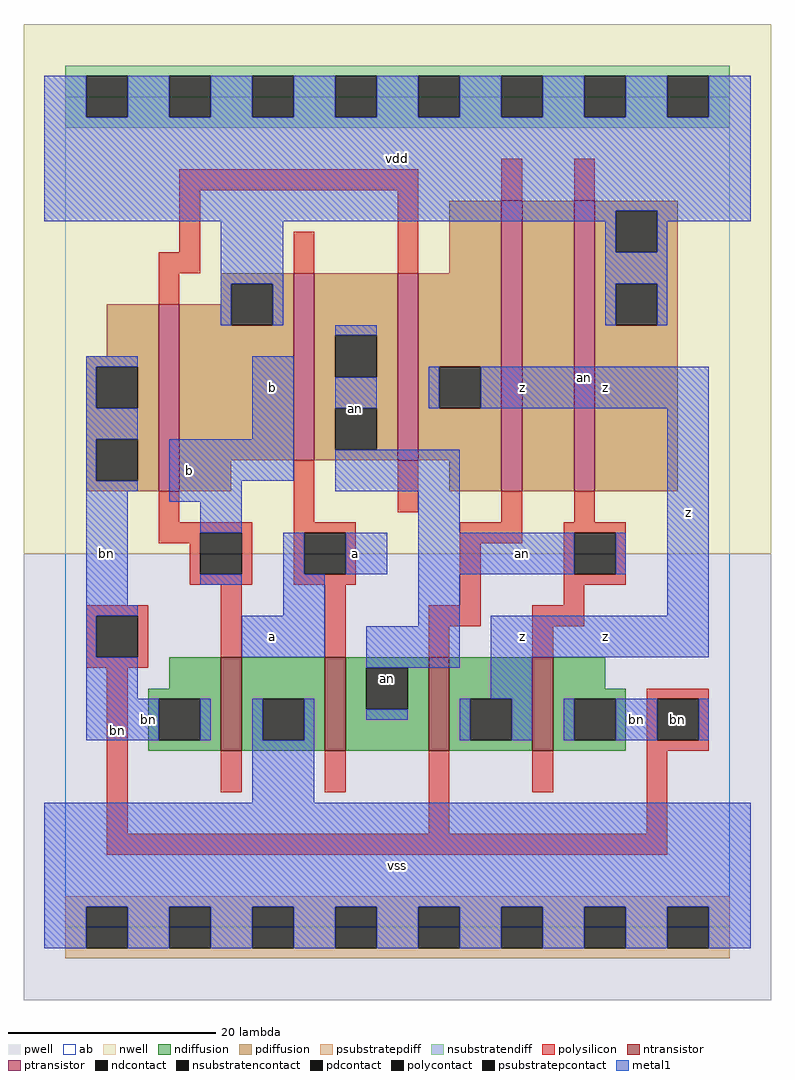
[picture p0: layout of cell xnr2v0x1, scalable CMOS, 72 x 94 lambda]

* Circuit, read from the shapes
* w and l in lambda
.subckt xnr2v0x1 a an b bn vdd vss z
M1 vss b bn vss nfet w=9 l=2
M2 an a vss vss nfet w=9 l=2
M3 z bn an vss nfet w=9 l=2
M4 bn an z vss nfet w=9 l=2
M5 vdd b bn vdd pfet w=18 l=2
M6 an a vdd vdd pfet w=18 l=2
M7 z b an vdd pfet w=18 l=2
M8 n1 bn z vdd pfet w=28 l=2
M9 vdd an n1 vdd pfet w=28 l=2
.ends

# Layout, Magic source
magic
tech scmos
<< ab >>
rect 0 0 64 80
<< pwell >>
rect -4 -7 68 36
<< nwell >>
rect -4 36 68 87
<< polysilicon >>
rect 11 71 34 73
rect 11 65 13 71
rect 9 63 13 65
rect 22 63 24 67
rect 32 63 34 71
rect 42 70 44 74
rect 49 70 51 74
rect 9 60 11 63
rect 9 39 11 42
rect 22 39 24 45
rect 32 40 34 45
rect 42 39 44 42
rect 49 39 51 42
rect 9 38 18 39
rect 9 37 13 38
rect 12 34 13 37
rect 17 34 18 38
rect 12 33 18 34
rect 22 38 28 39
rect 22 34 23 38
rect 27 34 28 38
rect 22 33 28 34
rect 38 37 44 39
rect 48 38 54 39
rect 2 30 8 31
rect 2 26 3 30
rect 7 26 8 30
rect 15 26 17 33
rect 25 26 27 33
rect 38 31 40 37
rect 48 34 49 38
rect 53 34 54 38
rect 48 33 54 34
rect 48 31 50 33
rect 35 29 40 31
rect 45 29 50 31
rect 35 26 37 29
rect 45 26 47 29
rect 2 25 8 26
rect 4 9 6 25
rect 56 22 62 23
rect 56 18 57 22
rect 61 18 62 22
rect 56 17 62 18
rect 15 13 17 17
rect 25 13 27 17
rect 35 9 37 17
rect 45 13 47 17
rect 56 9 58 17
rect 4 7 58 9
<< ndiffusion >>
rect 10 23 15 26
rect 8 22 15 23
rect 8 18 9 22
rect 13 18 15 22
rect 8 17 15 18
rect 17 22 25 26
rect 17 18 19 22
rect 23 18 25 22
rect 17 17 25 18
rect 27 25 35 26
rect 27 21 29 25
rect 33 21 35 25
rect 27 17 35 21
rect 37 22 45 26
rect 37 18 39 22
rect 43 18 45 22
rect 37 17 45 18
rect 47 23 52 26
rect 47 22 54 23
rect 47 18 49 22
rect 53 18 54 22
rect 47 17 54 18
<< pdiffusion >>
rect 37 63 42 70
rect 15 62 22 63
rect 15 60 16 62
rect 4 55 9 60
rect 2 54 9 55
rect 2 50 3 54
rect 7 50 9 54
rect 2 47 9 50
rect 2 43 3 47
rect 7 43 9 47
rect 2 42 9 43
rect 11 58 16 60
rect 20 58 22 62
rect 11 45 22 58
rect 24 57 32 63
rect 24 53 26 57
rect 30 53 32 57
rect 24 50 32 53
rect 24 46 26 50
rect 30 46 32 50
rect 24 45 32 46
rect 34 54 42 63
rect 34 50 36 54
rect 40 50 42 54
rect 34 45 42 50
rect 11 42 16 45
rect 37 42 42 45
rect 44 42 49 70
rect 51 69 59 70
rect 51 65 53 69
rect 57 65 59 69
rect 51 62 59 65
rect 51 58 53 62
rect 57 58 59 62
rect 51 42 59 58
<< metal1 >>
rect -2 78 2 82
rect 6 78 10 82
rect 14 78 18 82
rect 22 78 26 82
rect 30 78 34 82
rect 38 78 42 82
rect 46 78 50 82
rect 54 78 58 82
rect 62 78 66 82
rect -2 69 66 78
rect -2 68 53 69
rect 15 62 21 68
rect 15 58 16 62
rect 20 58 21 62
rect 52 65 53 68
rect 57 68 66 69
rect 57 65 58 68
rect 52 62 58 65
rect 52 58 53 62
rect 57 58 58 62
rect 26 57 30 58
rect 2 54 7 55
rect 2 50 3 54
rect 2 47 7 50
rect 18 47 22 55
rect 2 43 3 47
rect 2 42 7 43
rect 10 43 22 47
rect 26 50 30 53
rect 35 50 36 54
rect 40 50 62 54
rect 2 31 6 42
rect 10 41 17 43
rect 26 42 38 46
rect 13 38 17 41
rect 34 38 38 42
rect 13 33 17 34
rect 21 34 23 38
rect 27 34 31 38
rect 34 34 49 38
rect 53 34 54 38
rect 2 30 7 31
rect 21 30 25 34
rect 2 26 3 30
rect 17 26 25 30
rect 34 29 38 34
rect 58 30 62 50
rect 2 22 7 26
rect 29 25 38 29
rect 41 26 62 30
rect 2 18 9 22
rect 13 18 14 22
rect 18 18 19 22
rect 23 18 24 22
rect 41 22 45 26
rect 29 20 33 21
rect 38 18 39 22
rect 43 18 45 22
rect 48 18 49 22
rect 53 18 57 22
rect 61 18 62 22
rect 18 12 24 18
rect -2 2 66 12
rect -2 -2 2 2
rect 6 -2 10 2
rect 14 -2 18 2
rect 22 -2 26 2
rect 30 -2 34 2
rect 38 -2 42 2
rect 46 -2 50 2
rect 54 -2 58 2
rect 62 -2 66 2
<< ntransistor >>
rect 15 17 17 26
rect 25 17 27 26
rect 35 17 37 26
rect 45 17 47 26
<< ptransistor >>
rect 9 42 11 60
rect 22 45 24 63
rect 32 45 34 63
rect 42 42 44 70
rect 49 42 51 70
<< polycontact >>
rect 13 34 17 38
rect 23 34 27 38
rect 3 26 7 30
rect 49 34 53 38
rect 57 18 61 22
<< ndcontact >>
rect 9 18 13 22
rect 19 18 23 22
rect 29 21 33 25
rect 39 18 43 22
rect 49 18 53 22
<< pdcontact >>
rect 3 50 7 54
rect 3 43 7 47
rect 16 58 20 62
rect 26 53 30 57
rect 26 46 30 50
rect 36 50 40 54
rect 53 65 57 69
rect 53 58 57 62
<< psubstratepcontact >>
rect 2 -2 6 2
rect 10 -2 14 2
rect 18 -2 22 2
rect 26 -2 30 2
rect 34 -2 38 2
rect 42 -2 46 2
rect 50 -2 54 2
rect 58 -2 62 2
<< nsubstratencontact >>
rect 2 78 6 82
rect 10 78 14 82
rect 18 78 22 82
rect 26 78 30 82
rect 34 78 38 82
rect 42 78 46 82
rect 50 78 54 82
rect 58 78 62 82
<< psubstratepdiff >>
rect 0 2 64 3
rect 0 -2 2 2
rect 6 -2 10 2
rect 14 -2 18 2
rect 22 -2 26 2
rect 30 -2 34 2
rect 38 -2 42 2
rect 46 -2 50 2
rect 54 -2 58 2
rect 62 -2 64 2
rect 0 -3 64 -2
<< nsubstratendiff >>
rect 0 82 64 83
rect 0 78 2 82
rect 6 78 10 82
rect 14 78 18 82
rect 22 78 26 82
rect 30 78 34 82
rect 38 78 42 82
rect 46 78 50 82
rect 54 78 58 82
rect 62 78 64 82
rect 0 77 64 78
<< labels >>
rlabel polysilicon 5 19 5 19 6 bn
rlabel polycontact 59 20 59 20 6 bn
rlabel ptransistor 50 53 50 53 6 an
rlabel metal1 4 36 4 36 6 bn
rlabel metal1 8 20 8 20 6 bn
rlabel metal1 20 28 20 28 6 a
rlabel metal1 12 44 12 44 6 b
rlabel metal1 20 52 20 52 6 b
rlabel metal1 32 6 32 6 6 vss
rlabel ndcontact 31 24 31 24 6 an
rlabel metal1 28 36 28 36 6 a
rlabel metal1 28 50 28 50 6 an
rlabel metal1 32 74 32 74 6 vdd
rlabel metal1 44 28 44 28 6 z
rlabel metal1 44 52 44 52 6 z
rlabel metal1 52 28 52 28 6 z
rlabel metal1 55 20 55 20 6 bn
rlabel metal1 44 36 44 36 6 an
rlabel metal1 60 40 60 40 6 z
rlabel metal1 52 52 52 52 6 z
<< end >>
